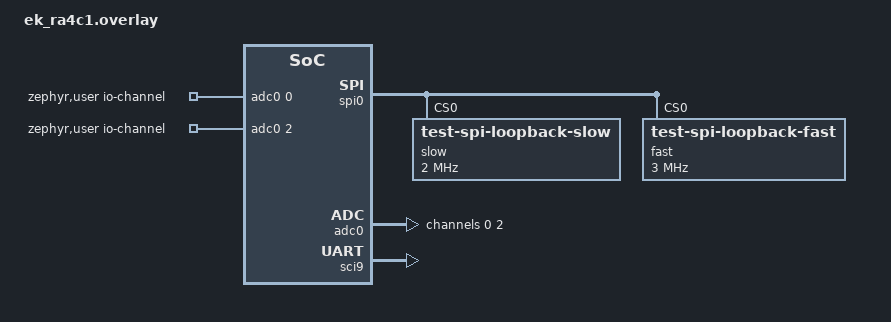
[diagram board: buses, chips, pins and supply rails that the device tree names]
/*
 * Copyright (c) 2025 Renesas Electronics Corporation
 * SPDX-License-Identifier: Apache-2.0
 */

&spi0 {
	rx-dtc;
	tx-dtc;

	slow@0 {
		compatible = "test-spi-loopback-slow";
		reg = <0>;
		spi-max-frequency = <2000000>;
	};

	fast@0 {
		compatible = "test-spi-loopback-fast";
		reg = <0>;
		spi-max-frequency = <3000000>;
	};
};

/ {
	zephyr,user {
		io-channels = <&adc0 0>, <&adc0 2>;
	};
};

&adc0 {
	status = "okay";
	#address-cells = <1>;
	#size-cells = <0>;
	channel@0 {
		reg = <0>;
		zephyr,gain = "ADC_GAIN_1";
		zephyr,reference = "ADC_REF_INTERNAL";
		zephyr,resolution = <12>;
		zephyr,acquisition-time = <ADC_ACQ_TIME_DEFAULT>;
		zephyr,vref-mv = <3300>;
	};
	channel@2 {
		reg = <2>;
		zephyr,gain = "ADC_GAIN_1";
		zephyr,reference = "ADC_REF_INTERNAL";
		zephyr,resolution = <12>;
		zephyr,acquisition-time = <ADC_ACQ_TIME_DEFAULT>;
		zephyr,vref-mv = <3300>;
	};
};

&pinctrl {
	sci9_default: sci9_default {
		group1 {
			psels = <RA_PSEL(RA_PSEL_SCI_9, 1, 9)>,
				<RA_PSEL(RA_PSEL_SCI_9, 1, 10)>;
		};
	};
};

&sci9 {
	pinctrl-0 = <&sci9_default>;
	pinctrl-names = "default";
	interrupts = <60 1>, <61 1>, <62 1>, <63 1>;
	interrupt-names = "rxi", "txi", "tei", "eri";
	status = "okay";
	dut: uart {
		current-speed = <115200>;
		status = "okay";
	};
};
